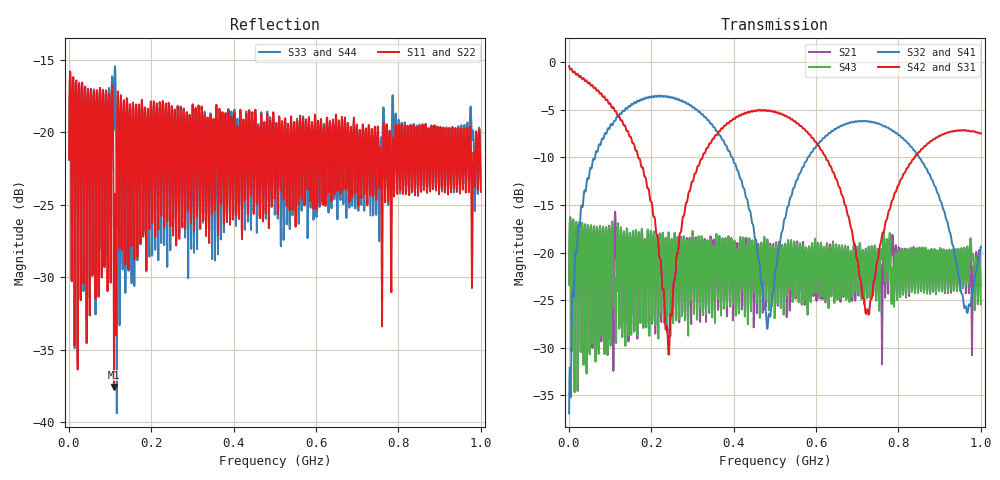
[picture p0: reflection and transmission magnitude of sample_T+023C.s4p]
! synthetic lab measurement T=23C
! synthetic measurement, noise -85.0 dB
# Hz S RI R 50
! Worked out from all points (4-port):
!   1201 points, 1 MHz to 1 GHz, reference 50 ohm
!   strongest paths, dB at 1 MHz, 250.8 MHz, 500.5 MHz, 750.2 MHz, 1 GHz:
!     S42: -0.4, -26.3, -5.2, -20.7, -7.5
!     S31: -0.4, -26.4, -5.2, -20.7, -7.5
!     S32: -36.9, -3.8, -22.1, -6.5, -19.4
!     S41: -36.9, -3.8, -22.1, -6.5, -19.4
!     S43: -23.4, -19.1, -25.4, -19.8, -25.4
!     S21: -23.4, -19.2, -23.9, -19.6, -23.4
!   lowest |S11| = -37.6 dB at 110.1 MHz (marker M1), VSWR 1.03, Z = 49.5 + j1.21 ohm
!   |S11| at or under -10 dB: start of sweep to end of sweep
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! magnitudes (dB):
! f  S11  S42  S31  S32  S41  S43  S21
! 1 MHz  -21.9  -0.4  -0.4  -36.9  -36.9  -23.4  -23.4
! 110.1 MHz  -37.6  -4.9  -4.9  -6.2  -6.2  -25.8  -20.9
! 239.9 MHz  -23.6  -28.5  -28.6  -3.6  -3.6  -24.2  -23.6
! 402.3 MHz  -18.6  -6.0  -6.0  -10.6  -10.6  -18.8  -18.7
! 484.7 MHz  -24.6  -5.1  -5.1  -26.8  -26.8  -24.1  -23.6
! 724.4 MHz  -25.0  -25.9  -25.9  -6.2  -6.2  -24.7  -24.8
! 1 GHz  -24.1  -7.5  -7.5  -19.4  -19.4  -25.4  -23.4
